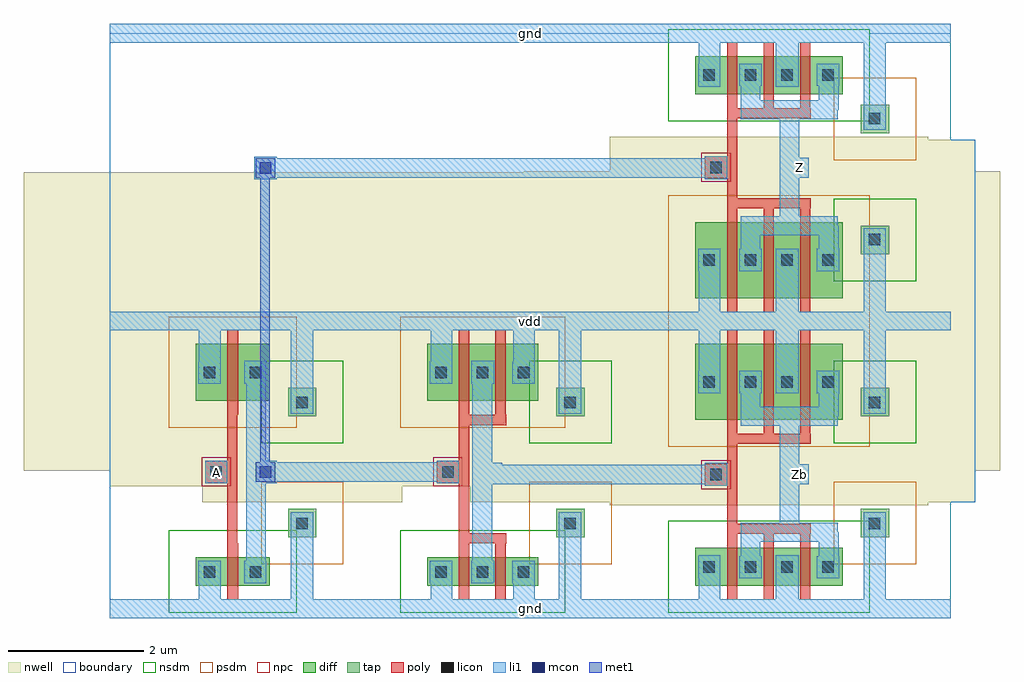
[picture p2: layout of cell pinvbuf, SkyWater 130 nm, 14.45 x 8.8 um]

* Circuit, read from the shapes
.subckt pinvbuf A Z Zb gnd vdd
XM1 pinv_2_1/A A gnd gnd sky130_fd_pr__nfet_01v8 w=0.42 l=0.16
XM2 pinv_3_2/A pinv_2_1/A gnd gnd sky130_fd_pr__nfet_01v8 w=0.42 l=0.15 m=2
XM3 Zb pinv_3_2/A gnd gnd sky130_fd_pr__nfet_01v8 w=0.56 l=0.15 m=3
XM4 Z pinv_2_1/A gnd gnd sky130_fd_pr__nfet_01v8 w=0.56 l=0.15 m=3
XM5 pinv_2_1/A A vdd vdd sky130_fd_pr__pfet_01v8 w=0.84 l=0.16
XM6 pinv_3_2/A pinv_2_1/A vdd vdd sky130_fd_pr__pfet_01v8 w=0.84 l=0.15 m=2
XM7 Zb pinv_3_2/A vdd vdd sky130_fd_pr__pfet_01v8 w=1.12 l=0.15 m=3
XM8 Z pinv_2_1/A vdd vdd sky130_fd_pr__pfet_01v8 w=1.12 l=0.15 m=3
.ends

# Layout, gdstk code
import gdstk
lib = gdstk.Library(unit=1e-6, precision=1e-09)
def R(c, l, rs):  # rectangles x0, y0, x1, y1
    for r in rs: c.add(gdstk.rectangle(r[:2], r[2:], *l))
def A(c, l, x, y, w, h, nx, ny, dx, dy):  # array of equal rectangles
    R(c, l, [(x+i*dx, y+j*dy, x+i*dx+w, y+j*dy+h) for i in range(nx) for j in range(ny)])
nwell = (64, 20)
diff = (65, 20)
tap = (65, 44)
poly = (66, 20)
licon = (66, 44)
li1 = (67, 20)
mcon = (67, 44)
met1 = (68, 20)
nsdm = (93, 44)
psdm = (94, 20)
npc = (95, 20)
boundary = (235, 4)

contact_12 = lib.new_cell('contact_12')
R(contact_12, nwell, [(-1.27,-1.27,1.69,1.69)])
R(contact_12, diff, [(0,0,0.42,0.42)])
R(contact_12, licon, [(0.12,0.12,0.29,0.29)])
R(contact_12, li1, [(0.04,0.04,0.37,0.37)])
R(contact_12, psdm, [(-0.4,-0.4,0.82,0.82)])
R(contact_12, boundary, [(-1.27,-1.27,1.69,1.69)])

pmos_m1_w0_840_sli_dli_d = lib.new_cell('pmos_m1_w0_840_sli_dli_da_p')
R(pmos_m1_w0_840_sli_dli_d, nwell, [(-1.27,-1.27,2.37,2.11)])
R(pmos_m1_w0_840_sli_dli_d, diff, [(0,0,1.1,0.84)])
R(pmos_m1_w0_840_sli_dli_d, poly, [(0.47,-0.21,0.62,1.05), (0.47,-0.21,0.63,1.05)])
R(pmos_m1_w0_840_sli_dli_d, li1, [(0.05,0.25,0.37,0.59), (0.73,0.25,1.05,0.59)])
R(pmos_m1_w0_840_sli_dli_d, psdm, [(-0.4,-0.4,1.5,1.24)])
R(pmos_m1_w0_840_sli_dli_d, boundary, [(-1.27,-1.27,2.37,2.11)])
pmos_m1_w0_840_sli_dli_d.add(gdstk.Reference(contact_12, (0,0.21)))
pmos_m1_w0_840_sli_dli_d.add(gdstk.Reference(contact_12, (0.68,0.21)))
pmos_m1_w0_840_sli_dli_d.add(gdstk.Label('G', (0.55,0.42), layer=66, texttype=20))
pmos_m1_w0_840_sli_dli_d.add(gdstk.Label('S', (0.21,0.42), layer=67, texttype=20))
pmos_m1_w0_840_sli_dli_d.add(gdstk.Label('D', (0.89,0.42), layer=67, texttype=20))

contact_11 = lib.new_cell('contact_11')
R(contact_11, diff, [(0,0,0.42,0.42)])
R(contact_11, licon, [(0.12,0.12,0.29,0.29)])
R(contact_11, li1, [(0.04,0.04,0.37,0.37)])
R(contact_11, nsdm, [(-0.4,-0.4,0.82,0.82)])
R(contact_11, boundary, [(-0.4,-0.4,0.82,0.82)])

nmos_m1_w0_420_sli_dli_d = lib.new_cell('nmos_m1_w0_420_sli_dli_da_p')
R(nmos_m1_w0_420_sli_dli_d, diff, [(0,0,1.1,0.42)])
R(nmos_m1_w0_420_sli_dli_d, poly, [(0.47,-0.21,0.62,0.63), (0.47,-0.21,0.63,0.63)])
R(nmos_m1_w0_420_sli_dli_d, li1, [(0.05,0.05,0.37,0.37), (0.73,0.05,1.05,0.37)])
R(nmos_m1_w0_420_sli_dli_d, nsdm, [(-0.4,-0.4,1.5,0.82)])
R(nmos_m1_w0_420_sli_dli_d, boundary, [(-0.4,-0.4,1.5,0.82)])
nmos_m1_w0_420_sli_dli_d.add(gdstk.Reference(contact_11, (0,0)))
nmos_m1_w0_420_sli_dli_d.add(gdstk.Reference(contact_11, (0.68,0)))
nmos_m1_w0_420_sli_dli_d.add(gdstk.Label('G', (0.55,0.21), layer=66, texttype=20))
nmos_m1_w0_420_sli_dli_d.add(gdstk.Label('S', (0.21,0.21), layer=67, texttype=20))
nmos_m1_w0_420_sli_dli_d.add(gdstk.Label('D', (0.89,0.21), layer=67, texttype=20))

contact_13 = lib.new_cell('contact_13')
R(contact_13, nwell, [(-1.27,-1.27,1.69,1.69)])
R(contact_13, tap, [(0,0,0.42,0.42)])
R(contact_13, licon, [(0.12,0.12,0.29,0.29)])
R(contact_13, li1, [(0.04,0.04,0.37,0.37)])
R(contact_13, nsdm, [(-0.4,-0.4,0.82,0.82)])
R(contact_13, boundary, [(-1.27,-1.27,1.69,1.69)])

contact_14 = lib.new_cell('contact_14')
R(contact_14, tap, [(0,0,0.42,0.42)])
R(contact_14, licon, [(0.12,0.12,0.29,0.29)])
R(contact_14, li1, [(0.04,0.04,0.37,0.37)])
R(contact_14, psdm, [(-0.4,-0.4,0.82,0.82)])
R(contact_14, boundary, [(-0.4,-0.4,0.82,0.82)])

contact_15 = lib.new_cell('contact_15')
R(contact_15, poly, [(0,0,0.33,0.33)])
R(contact_15, licon, [(0.08,0.08,0.25,0.25)])
R(contact_15, li1, [(0,0,0.33,0.33)])
R(contact_15, npc, [(-0.05,-0.05,0.38,0.38)])
R(contact_15, boundary, [(-0.05,-0.05,0.38,0.38)])

pinv_1 = lib.new_cell('pinv_1')
R(pinv_1, nwell, [(-1.27,2.04,4.7,6.46)])
R(pinv_1, poly, [(1.74,0.97,1.89,2.87), (1.58,1.86,1.74,2.19)])
R(pinv_1, li1, [(0,-0.14,3.43,0.14), (1.32,-0.14,1.64,0.39), (2.68,0,3.01,1.27), (2.02,0.39,2.31,3.67), (1.41,1.86,1.74,2.18), (2.16,1.88,2.45,2.16), (2.68,3.06,3.01,4.26), (1.32,3.33,1.64,4.4), (0,4.12,3.43,4.4)])
R(pinv_1, boundary, [(0,0,3.43,4.26), (0,0,3.43,4.26)])
pinv_1.add(gdstk.Reference(pmos_m1_w0_840_sli_dli_d, (1.27,3.08)))
pinv_1.add(gdstk.Reference(nmos_m1_w0_420_sli_dli_d, (1.27,0.34)))
pinv_1.add(gdstk.Reference(contact_13, (2.64,2.85)))
pinv_1.add(gdstk.Reference(contact_14, (2.64,1.06)))
pinv_1.add(gdstk.Reference(contact_15, (1.41,1.86)))
pinv_1.add(gdstk.Label('A', (1.575,2.02), layer=67, texttype=20))
pinv_1.add(gdstk.Label('Z', (2.305,2.02), layer=67, texttype=20))
pinv_1.add(gdstk.Label('gnd', (1.715,0), layer=67, texttype=20))
pinv_1.add(gdstk.Label('vdd', (1.715,4.26), layer=67, texttype=20))

pmos_m2_w0_840_sli_dli_d = lib.new_cell('pmos_m2_w0_840_sli_dli_da_p')
R(pmos_m2_w0_840_sli_dli_d, nwell, [(-1.27,-1.27,2.91,2.11)])
R(pmos_m2_w0_840_sli_dli_d, diff, [(0,0,1.64,0.84)])
R(pmos_m2_w0_840_sli_dli_d, poly, [(0.47,-0.36,1.17,-0.21), (0.47,-0.21,0.62,1.05), (1.01,-0.21,1.16,1.05)])
R(pmos_m2_w0_840_sli_dli_d, li1, [(0.05,0.25,0.37,0.59), (0.65,0.25,0.99,0.59), (1.27,0.25,1.59,0.59)])
R(pmos_m2_w0_840_sli_dli_d, psdm, [(-0.4,-0.4,2.04,1.24)])
R(pmos_m2_w0_840_sli_dli_d, boundary, [(-1.27,-1.27,2.91,2.11)])
pmos_m2_w0_840_sli_dli_d.add(gdstk.Reference(contact_12, (0,0.21)))
pmos_m2_w0_840_sli_dli_d.add(gdstk.Reference(contact_12, (0.61,0.21)))
pmos_m2_w0_840_sli_dli_d.add(gdstk.Reference(contact_12, (1.22,0.21)))
pmos_m2_w0_840_sli_dli_d.add(gdstk.Label('G', (0.82,-0.285), layer=66, texttype=20))
pmos_m2_w0_840_sli_dli_d.add(gdstk.Label('S', (0.21,0.42), layer=67, texttype=20))
pmos_m2_w0_840_sli_dli_d.add(gdstk.Label('S', (1.43,0.42), layer=67, texttype=20))
pmos_m2_w0_840_sli_dli_d.add(gdstk.Label('D', (0.82,0.42), layer=67, texttype=20))

nmos_m2_w0_420_sli_dli_d = lib.new_cell('nmos_m2_w0_420_sli_dli_da_p')
R(nmos_m2_w0_420_sli_dli_d, diff, [(0,0,1.64,0.42)])
R(nmos_m2_w0_420_sli_dli_d, poly, [(0.47,-0.21,0.62,0.63), (1.01,-0.21,1.16,0.63), (0.47,0.63,1.17,0.78)])
R(nmos_m2_w0_420_sli_dli_d, li1, [(0.05,0.05,0.37,0.37), (0.65,0.05,0.99,0.37), (1.27,0.05,1.59,0.37)])
R(nmos_m2_w0_420_sli_dli_d, nsdm, [(-0.4,-0.4,2.04,0.82)])
R(nmos_m2_w0_420_sli_dli_d, boundary, [(-0.4,-0.4,2.04,0.82)])
nmos_m2_w0_420_sli_dli_d.add(gdstk.Reference(contact_11, (0,0)))
nmos_m2_w0_420_sli_dli_d.add(gdstk.Reference(contact_11, (0.61,0)))
nmos_m2_w0_420_sli_dli_d.add(gdstk.Reference(contact_11, (1.22,0)))
nmos_m2_w0_420_sli_dli_d.add(gdstk.Label('G', (0.82,0.705), layer=66, texttype=20))
nmos_m2_w0_420_sli_dli_d.add(gdstk.Label('S', (0.21,0.21), layer=67, texttype=20))
nmos_m2_w0_420_sli_dli_d.add(gdstk.Label('S', (1.43,0.21), layer=67, texttype=20))
nmos_m2_w0_420_sli_dli_d.add(gdstk.Label('D', (0.82,0.21), layer=67, texttype=20))

pinv_2 = lib.new_cell('pinv_2')
R(pinv_2, nwell, [(-1.27,2.04,5.24,6.46)])
R(pinv_2, poly, [(1.74,1.12,1.89,2.72), (1.58,1.86,1.74,2.19)])
R(pinv_2, li1, [(0,-0.14,3.97,0.14), (1.32,-0.14,1.64,0.39), (2.54,-0.14,2.86,0.39), (3.22,0,3.55,1.27), (1.94,0.39,2.23,3.67), (1.41,1.86,1.74,2.18), (2.09,1.88,2.38,2.16), (3.22,3.06,3.55,4.26), (1.32,3.33,1.64,4.4), (2.54,3.33,2.86,4.4), (0,4.12,3.97,4.4)])
R(pinv_2, boundary, [(0,0,3.97,4.26), (0,0,3.97,4.26)])
pinv_2.add(gdstk.Reference(pmos_m2_w0_840_sli_dli_d, (1.27,3.08)))
pinv_2.add(gdstk.Reference(nmos_m2_w0_420_sli_dli_d, (1.27,0.34)))
pinv_2.add(gdstk.Reference(contact_13, (3.18,2.85)))
pinv_2.add(gdstk.Reference(contact_14, (3.18,1.06)))
pinv_2.add(gdstk.Reference(contact_15, (1.41,1.86)))
pinv_2.add(gdstk.Label('A', (1.575,2.02), layer=67, texttype=20))
pinv_2.add(gdstk.Label('Z', (2.235,2.02), layer=67, texttype=20))
pinv_2.add(gdstk.Label('gnd', (1.985,0), layer=67, texttype=20))
pinv_2.add(gdstk.Label('vdd', (1.985,4.26), layer=67, texttype=20))

pmos_m3_w1_120_sli_dli_d = lib.new_cell('pmos_m3_w1_120_sli_dli_da_p')
R(pmos_m3_w1_120_sli_dli_d, nwell, [(-1.27,-1.27,3.45,2.39)])
R(pmos_m3_w1_120_sli_dli_d, diff, [(0,0,2.18,1.12)])
A(pmos_m3_w1_120_sli_dli_d, poly, 0.47, -0.21, 0.15, 1.54, 3, 1, 0.54, 0)
R(pmos_m3_w1_120_sli_dli_d, poly, [(0.47,-0.36,1.71,-0.21)])
R(pmos_m3_w1_120_sli_dli_d, li1, [(0.67,-0.09,2.11,0.19), (0.67,0.05,0.96,0.56), (1.83,0.05,2.12,0.56), (0.05,0.39,0.37,0.73), (1.19,0.39,1.53,0.73)])
R(pmos_m3_w1_120_sli_dli_d, psdm, [(-0.4,-0.4,2.58,1.52)])
R(pmos_m3_w1_120_sli_dli_d, boundary, [(-1.27,-1.27,3.45,2.39)])
pmos_m3_w1_120_sli_dli_d.add(gdstk.Reference(contact_12, (0,0.35)))
pmos_m3_w1_120_sli_dli_d.add(gdstk.Reference(contact_12, (0.61,0.35)))
pmos_m3_w1_120_sli_dli_d.add(gdstk.Reference(contact_12, (1.15,0.35)))
pmos_m3_w1_120_sli_dli_d.add(gdstk.Reference(contact_12, (1.76,0.35)))
pmos_m3_w1_120_sli_dli_d.add(gdstk.Label('G', (1.09,-0.285), layer=66, texttype=20))
pmos_m3_w1_120_sli_dli_d.add(gdstk.Label('S', (0.21,0.56), layer=67, texttype=20))
pmos_m3_w1_120_sli_dli_d.add(gdstk.Label('S', (1.36,0.56), layer=67, texttype=20))
pmos_m3_w1_120_sli_dli_d.add(gdstk.Label('D', (1.39,0.05), layer=67, texttype=20))

nmos_m3_w0_560_sli_dli_d = lib.new_cell('nmos_m3_w0_560_sli_dli_da_p')
R(nmos_m3_w0_560_sli_dli_d, diff, [(0,0,2.18,0.56)])
A(nmos_m3_w0_560_sli_dli_d, poly, 0.47, -0.21, 0.15, 0.98, 3, 1, 0.54, 0)
R(nmos_m3_w0_560_sli_dli_d, poly, [(0.47,0.77,1.71,0.92)])
R(nmos_m3_w0_560_sli_dli_d, li1, [(0.05,0.11,0.37,0.45), (1.19,0.11,1.53,0.45), (0.67,0.28,0.96,0.79), (1.83,0.28,2.12,0.79), (0.67,0.65,2.11,0.93)])
R(nmos_m3_w0_560_sli_dli_d, nsdm, [(-0.4,-0.4,2.58,0.96)])
R(nmos_m3_w0_560_sli_dli_d, boundary, [(-0.4,-0.4,2.58,0.96)])
nmos_m3_w0_560_sli_dli_d.add(gdstk.Reference(contact_11, (0,0.07)))
nmos_m3_w0_560_sli_dli_d.add(gdstk.Reference(contact_11, (0.61,0.07)))
nmos_m3_w0_560_sli_dli_d.add(gdstk.Reference(contact_11, (1.15,0.07)))
nmos_m3_w0_560_sli_dli_d.add(gdstk.Reference(contact_11, (1.76,0.07)))
nmos_m3_w0_560_sli_dli_d.add(gdstk.Label('G', (1.09,0.845), layer=66, texttype=20))
nmos_m3_w0_560_sli_dli_d.add(gdstk.Label('S', (1.36,0.28), layer=67, texttype=20))
nmos_m3_w0_560_sli_dli_d.add(gdstk.Label('S', (0.21,0.28), layer=67, texttype=20))
nmos_m3_w0_560_sli_dli_d.add(gdstk.Label('D', (1.39,0.79), layer=67, texttype=20))

pinv_3 = lib.new_cell('pinv_3')
R(pinv_3, nwell, [(-1.27,2.04,5.78,6.46)])
R(pinv_3, poly, [(1.74,1.26,1.89,2.44), (1.58,1.82,1.74,2.15)])
R(pinv_3, li1, [(0,-0.14,4.51,0.14), (1.32,-0.14,1.64,0.45), (2.46,-0.14,2.8,0.45), (3.76,0,4.09,1.27), (2.52,0.99,2.81,2.99), (1.41,1.82,1.74,2.16), (2.66,1.84,2.95,2.14), (3.76,3.06,4.09,4.26), (1.32,3.19,1.64,4.4), (2.46,3.19,2.8,4.4), (0,4.12,4.51,4.4)])
R(pinv_3, boundary, [(0,0,4.51,4.26), (0,0,4.51,4.26)])
pinv_3.add(gdstk.Reference(pmos_m3_w1_120_sli_dli_d, (1.27,2.8)))
pinv_3.add(gdstk.Reference(nmos_m3_w0_560_sli_dli_d, (1.27,0.34)))
pinv_3.add(gdstk.Reference(contact_13, (3.72,2.85)))
pinv_3.add(gdstk.Reference(contact_14, (3.72,1.06)))
pinv_3.add(gdstk.Reference(contact_15, (1.41,1.82)))
pinv_3.add(gdstk.Label('A', (1.575,1.99), layer=67, texttype=20))
pinv_3.add(gdstk.Label('Z', (2.805,1.99), layer=67, texttype=20))
pinv_3.add(gdstk.Label('gnd', (2.255,0), layer=67, texttype=20))
pinv_3.add(gdstk.Label('vdd', (2.255,4.26), layer=67, texttype=20))

contact_16 = lib.new_cell('contact_16')
R(contact_16, li1, [(0,0,0.33,0.33)])
R(contact_16, mcon, [(0.08,0.08,0.25,0.25)])
R(contact_16, met1, [(0.02,0.02,0.31,0.31)])
R(contact_16, boundary, [(0,0,0.33,0.33)])

pinvbuf = lib.new_cell('pinvbuf')
A(pinvbuf, li1, 0, 0, 12.45, 0.28, 1, 3, 0, 4.26)
R(pinvbuf, li1, [(5.52,1.98,5.81,2.27), (5.66,1.98,8.98,2.27), (8.83,1.98,9.12,2.27), (10.06,1.98,10.35,2.28), (1.43,2.02,1.72,2.3), (2.3,2.02,5,2.31), (4.86,2.02,5.15,2.31), (5.52,2.13,5.81,2.16), (2.3,6.52,8.98,6.81), (10.06,6.52,10.35,6.82)])
R(pinvbuf, met1, [(2.23,2.16,2.37,6.67)])
R(pinvbuf, boundary, [(0,0,12.45,8.52), (0,0.14,12.45,8.66)])
pinvbuf.add(gdstk.Reference(pinv_1, (0,0.14)))
pinvbuf.add(gdstk.Reference(pinv_2, (3.43,0.14)))
pinvbuf.add(gdstk.Reference(pinv_3, (7.4,0.14)))
pinvbuf.add(gdstk.Reference(pinv_3, (7.4,8.66), x_reflection=True))
pinvbuf.add(gdstk.Reference(contact_16, (2.14,6.5)))
pinvbuf.add(gdstk.Reference(contact_16, (2.14,2)))
pinvbuf.add(gdstk.Label('vdd', (6.225,4.4), layer=67, texttype=20))
pinvbuf.add(gdstk.Label('gnd', (6.225,8.66), layer=67, texttype=20))
pinvbuf.add(gdstk.Label('gnd', (6.225,0.14), layer=67, texttype=20))
pinvbuf.add(gdstk.Label('Z', (10.205,6.67), layer=67, texttype=20))
pinvbuf.add(gdstk.Label('Zb', (10.205,2.13), layer=67, texttype=20))
pinvbuf.add(gdstk.Label('A', (1.575,2.16), layer=67, texttype=20))

lib.write_gds('pinvbuf.gds')
